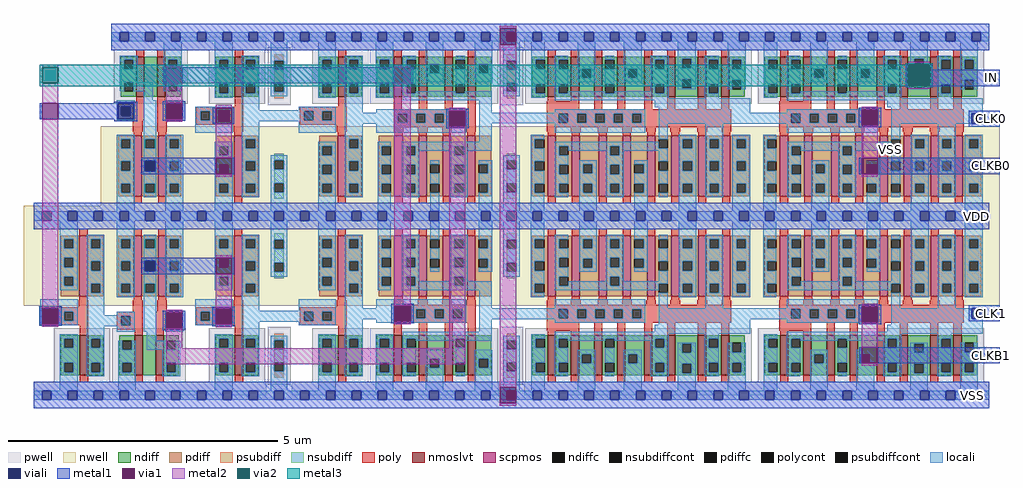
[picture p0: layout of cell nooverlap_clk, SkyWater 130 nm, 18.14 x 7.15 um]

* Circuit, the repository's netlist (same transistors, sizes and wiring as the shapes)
* NGSPICE file created from nooverlap_clk.ext - technology: sky130A

.subckt sky130_fd_sc_hs__nand2_1 A B VGND VNB VPB VPWR Y
X0 a_117_74# B VGND VNB sky130_fd_pr__nfet_01v8_lvt ad=0.0888 pd=0.98 as=0.2109 ps=2.05 w=0.74 l=0.15
X1 VPWR A Y VPB sky130_fd_pr__pfet_01v8 ad=0.3192 pd=2.81 as=0.168 ps=1.42 w=1.12 l=0.15
X2 Y A a_117_74# VNB sky130_fd_pr__nfet_01v8_lvt ad=0.2109 pd=2.05 as=0.0888 ps=0.98 w=0.74 l=0.15
X3 Y B VPWR VPB sky130_fd_pr__pfet_01v8 ad=0.168 pd=1.42 as=0.3192 ps=2.81 w=1.12 l=0.15
.ends

.subckt sky130_fd_sc_hs__inv_1 A VGND VNB VPB VPWR Y
X0 Y A VPWR VPB sky130_fd_pr__pfet_01v8 ad=0.3304 pd=2.83 as=0.3864 ps=2.93 w=1.12 l=0.15
X1 Y A VGND VNB sky130_fd_pr__nfet_01v8_lvt ad=0.2109 pd=2.05 as=0.2627 ps=2.19 w=0.74 l=0.15
.ends

.subckt sky130_fd_sc_hs__inv_4 A VGND VNB VPB VPWR Y
X0 Y A VPWR VPB sky130_fd_pr__pfet_01v8 ad=0.168 pd=1.42 as=0.3304 ps=2.83 w=1.12 l=0.15
X1 Y A VGND VNB sky130_fd_pr__nfet_01v8_lvt ad=0.1184 pd=1.06 as=0.2331 ps=2.11 w=0.74 l=0.15
X2 Y A VGND VNB sky130_fd_pr__nfet_01v8_lvt ad=0.1036 pd=1.02 as=0.1221 ps=1.07 w=0.74 l=0.15
X3 VPWR A Y VPB sky130_fd_pr__pfet_01v8 ad=0.3304 pd=2.83 as=0.168 ps=1.42 w=1.12 l=0.15
X4 VGND A Y VNB sky130_fd_pr__nfet_01v8_lvt ad=0.1221 pd=1.07 as=0.1184 ps=1.06 w=0.74 l=0.15
X5 Y A VPWR VPB sky130_fd_pr__pfet_01v8 ad=0.168 pd=1.42 as=0.168 ps=1.42 w=1.12 l=0.15
X6 VGND A Y VNB sky130_fd_pr__nfet_01v8_lvt ad=0.2109 pd=2.05 as=0.1036 ps=1.02 w=0.74 l=0.15
X7 VPWR A Y VPB sky130_fd_pr__pfet_01v8 ad=0.168 pd=1.42 as=0.168 ps=1.42 w=1.12 l=0.15
.ends

.subckt sky130_fd_sc_hs__inv_8 A VGND VNB VPB VPWR Y
X0 Y A VPWR VPB sky130_fd_pr__pfet_01v8 ad=0.168 pd=1.42 as=0.3304 ps=2.83 w=1.12 l=0.15
X1 VPWR A Y VPB sky130_fd_pr__pfet_01v8 ad=0.196 pd=1.47 as=0.168 ps=1.42 w=1.12 l=0.15
X2 Y A VGND VNB sky130_fd_pr__nfet_01v8_lvt ad=0.1036 pd=1.02 as=0.2109 ps=2.05 w=0.74 l=0.15
X3 Y A VPWR VPB sky130_fd_pr__pfet_01v8 ad=0.168 pd=1.42 as=0.168 ps=1.42 w=1.12 l=0.15
X4 Y A VGND VNB sky130_fd_pr__nfet_01v8_lvt ad=0.1036 pd=1.02 as=0.1295 ps=1.09 w=0.74 l=0.15
X5 VPWR A Y VPB sky130_fd_pr__pfet_01v8 ad=0.168 pd=1.42 as=0.168 ps=1.42 w=1.12 l=0.15
X6 Y A VPWR VPB sky130_fd_pr__pfet_01v8 ad=0.168 pd=1.42 as=0.196 ps=1.47 w=1.12 l=0.15
X7 VGND A Y VNB sky130_fd_pr__nfet_01v8_lvt ad=0.2146 pd=2.06 as=0.1036 ps=1.02 w=0.74 l=0.15
X8 VGND A Y VNB sky130_fd_pr__nfet_01v8_lvt ad=0.1295 pd=1.09 as=0.1036 ps=1.02 w=0.74 l=0.15
X9 VPWR A Y VPB sky130_fd_pr__pfet_01v8 ad=0.196 pd=1.47 as=0.168 ps=1.42 w=1.12 l=0.15
X10 VGND A Y VNB sky130_fd_pr__nfet_01v8_lvt ad=0.1036 pd=1.02 as=0.1036 ps=1.02 w=0.74 l=0.15
X11 Y A VGND VNB sky130_fd_pr__nfet_01v8_lvt ad=0.1036 pd=1.02 as=0.1554 ps=1.16 w=0.74 l=0.15
X12 Y A VGND VNB sky130_fd_pr__nfet_01v8_lvt ad=0.1036 pd=1.02 as=0.1036 ps=1.02 w=0.74 l=0.15
X13 VPWR A Y VPB sky130_fd_pr__pfet_01v8 ad=0.3864 pd=2.93 as=0.168 ps=1.42 w=1.12 l=0.15
X14 Y A VPWR VPB sky130_fd_pr__pfet_01v8 ad=0.168 pd=1.42 as=0.196 ps=1.47 w=1.12 l=0.15
X15 VGND A Y VNB sky130_fd_pr__nfet_01v8_lvt ad=0.1554 pd=1.16 as=0.1036 ps=1.02 w=0.74 l=0.15
.ends

.subckt nooverlap_clk IN CLK0 CLKB0 CLK1 CLKB1 VDD VSS
Xx1 x1/A x3/Y VSS VSS VDD VDD x4/A sky130_fd_sc_hs__nand2_1
Xx3 IN VSS VSS VDD VDD x3/Y sky130_fd_sc_hs__inv_1
Xx4 x4/A VSS VSS VDD VDD x6/A sky130_fd_sc_hs__inv_1
Xx6 x6/A VSS VSS VDD VDD x8/A sky130_fd_sc_hs__inv_1
Xx8 x8/A VSS VSS VDD VDD x8/Y sky130_fd_sc_hs__inv_4
Xsky130_fd_sc_hs__nand2_1_0 IN x8/A VSS VSS VDD VDD sky130_fd_sc_hs__inv_1_0/A sky130_fd_sc_hs__nand2_1
Xsky130_fd_sc_hs__inv_1_0 sky130_fd_sc_hs__inv_1_0/A VSS VSS VDD VDD sky130_fd_sc_hs__inv_1_1/A
+ sky130_fd_sc_hs__inv_1
Xsky130_fd_sc_hs__inv_1_1 sky130_fd_sc_hs__inv_1_1/A VSS VSS VDD VDD x1/A sky130_fd_sc_hs__inv_1
Xsky130_fd_sc_hs__inv_8_0 sky130_fd_sc_hs__inv_8_0/A VSS VSS VDD VDD CLKB0 sky130_fd_sc_hs__inv_8
Xsky130_fd_sc_hs__inv_8_1 CLKB0 VSS VSS VDD VDD CLK0 sky130_fd_sc_hs__inv_8
Xx10 x8/Y VSS VSS VDD VDD CLKB1 sky130_fd_sc_hs__inv_8
Xx12 CLKB1 VSS VSS VDD VDD CLK1 sky130_fd_sc_hs__inv_8
Xsky130_fd_sc_hs__inv_4_0 x1/A VSS VSS VDD VDD sky130_fd_sc_hs__inv_8_0/A sky130_fd_sc_hs__inv_4
.ends

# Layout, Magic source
magic
tech sky130A
magscale 1 2
<< locali >>
rect 151 -3707 379 -3667
rect 536 -3717 657 -3677
rect 1009 -3716 1326 -3676
rect 1976 -3717 2190 -3677
rect -435 -4469 -301 -4429
rect 126 -4453 379 -4413
rect 532 -4443 628 -4403
rect 1009 -4443 1326 -4403
rect 1972 -4443 2190 -4403
<< viali >>
rect -351 -3701 -291 -3641
rect -171 -3700 -111 -3640
rect 23 -3707 63 -3667
rect 882 -3728 942 -3668
rect 2415 -3724 2475 -3664
rect 2824 -3718 2864 -3678
rect -251 -3894 -211 -3854
rect -251 -4266 -211 -4226
rect -631 -4462 -571 -4402
rect -171 -4478 -111 -4418
rect 13 -4463 73 -4403
rect 678 -4453 738 -4393
rect 2415 -4456 2475 -4396
rect 2824 -4442 2864 -4402
<< metal1 >>
rect 1060 -3423 1070 -3363
rect 1130 -3423 1140 -3363
rect -181 -3567 -171 -3507
rect -111 -3567 678 -3507
rect 738 -3567 748 -3507
rect 2578 -3577 2588 -3497
rect 2668 -3517 2678 -3497
rect 2668 -3577 2927 -3517
rect -363 -3641 -279 -3635
rect -641 -3701 -631 -3641
rect -571 -3701 -351 -3641
rect -291 -3701 -279 -3641
rect -363 -3707 -279 -3701
rect -183 -3640 -99 -3634
rect -183 -3700 -171 -3640
rect -111 -3700 -99 -3640
rect -183 -3706 -99 -3700
rect 3 -3717 13 -3657
rect 73 -3717 83 -3657
rect 870 -3668 954 -3662
rect 870 -3728 882 -3668
rect 942 -3728 954 -3668
rect 870 -3734 954 -3728
rect 2403 -3664 2487 -3658
rect 2403 -3724 2415 -3664
rect 2475 -3724 2487 -3664
rect 2403 -3730 2487 -3724
rect 2812 -3678 2927 -3668
rect 2812 -3718 2824 -3678
rect 2864 -3718 2927 -3678
rect 2812 -3728 2927 -3718
rect -263 -3854 13 -3844
rect -263 -3894 -251 -3854
rect -211 -3894 13 -3854
rect -263 -3904 13 -3894
rect 73 -3904 83 -3844
rect 2405 -3904 2415 -3844
rect 2475 -3904 2927 -3844
rect 2791 -4100 2873 -4026
rect -263 -4226 13 -4216
rect -263 -4266 -251 -4226
rect -211 -4266 13 -4226
rect -263 -4276 13 -4266
rect 73 -4276 83 -4216
rect 666 -4393 750 -4387
rect -643 -4402 -559 -4396
rect -643 -4462 -631 -4402
rect -571 -4462 -559 -4402
rect 1 -4403 85 -4397
rect -643 -4468 -559 -4462
rect -183 -4418 -99 -4412
rect -183 -4478 -171 -4418
rect -111 -4478 -99 -4418
rect 1 -4463 13 -4403
rect 73 -4463 85 -4403
rect 666 -4453 678 -4393
rect 738 -4453 750 -4393
rect 666 -4459 750 -4453
rect 2403 -4396 2487 -4390
rect 2403 -4456 2415 -4396
rect 2475 -4456 2487 -4396
rect 2812 -4402 2927 -4392
rect 2812 -4442 2824 -4402
rect 2864 -4442 2927 -4402
rect 2812 -4452 2927 -4442
rect 2403 -4462 2487 -4456
rect 1 -4469 85 -4463
rect -183 -4484 -99 -4478
rect 2405 -4607 2415 -4547
rect 2475 -4607 2927 -4547
rect 1060 -4756 1070 -4696
rect 1130 -4756 1140 -4696
rect 2783 -4764 2865 -4690
<< via1 >>
rect 1070 -3423 1130 -3363
rect -171 -3567 -111 -3507
rect 678 -3567 738 -3507
rect 2588 -3577 2668 -3497
rect -631 -3701 -571 -3641
rect -171 -3700 -111 -3640
rect 13 -3667 73 -3657
rect 13 -3707 23 -3667
rect 23 -3707 63 -3667
rect 63 -3707 73 -3667
rect 13 -3717 73 -3707
rect 882 -3728 942 -3668
rect 2415 -3724 2475 -3664
rect 13 -3904 73 -3844
rect 2415 -3904 2475 -3844
rect 13 -4276 73 -4216
rect -631 -4462 -571 -4402
rect -171 -4478 -111 -4418
rect 13 -4463 73 -4403
rect 678 -4453 738 -4393
rect 2415 -4456 2475 -4396
rect 2415 -4607 2475 -4547
rect 1070 -4756 1130 -4696
<< metal2 >>
rect 1070 -3363 1130 -3353
rect -631 -3507 -571 -3497
rect -631 -3641 -571 -3567
rect -631 -4402 -571 -3701
rect -171 -3507 -111 -3497
rect -171 -3640 -111 -3567
rect 678 -3507 738 -3497
rect -171 -3710 -111 -3700
rect 13 -3657 73 -3647
rect 13 -3844 73 -3717
rect 13 -3914 73 -3904
rect 13 -4216 73 -4206
rect 13 -4403 73 -4276
rect -631 -4472 -571 -4462
rect -171 -4418 -111 -4408
rect 678 -4393 738 -3567
rect 678 -4463 738 -4453
rect 882 -3668 942 -3658
rect 13 -4473 73 -4463
rect -171 -4551 -111 -4478
rect 882 -4551 942 -3728
rect -171 -4611 942 -4551
rect 1070 -4696 1130 -3423
rect 2588 -3497 2668 -3487
rect 2588 -3587 2668 -3577
rect 2415 -3664 2475 -3654
rect 2415 -3844 2475 -3724
rect 2415 -3914 2475 -3904
rect 2415 -4396 2475 -4386
rect 2415 -4547 2475 -4456
rect 2415 -4617 2475 -4607
rect 1070 -4766 1130 -4756
<< via2 >>
rect -631 -3567 -571 -3507
rect 2588 -3577 2668 -3497
<< metal3 >>
rect 2578 -3497 2678 -3492
rect -641 -3507 2588 -3497
rect -641 -3567 -631 -3507
rect -571 -3567 2588 -3507
rect -641 -3577 2588 -3567
rect 2668 -3577 2678 -3497
rect 2578 -3582 2678 -3577
use sky130_fd_sc_hs__inv_1  sky130_fd_sc_hs__inv_1_0 $PDKPATH/libs.ref/sky130_fd_sc_hs/mag
transform 1 0 -87 0 -1 -3394
box -38 -49 326 715
use sky130_fd_sc_hs__inv_1  sky130_fd_sc_hs__inv_1_1
transform 1 0 297 0 -1 -3394
box -38 -49 326 715
use sky130_fd_sc_hs__inv_4  sky130_fd_sc_hs__inv_4_0 $PDKPATH/libs.ref/sky130_fd_sc_hs/mag
transform 1 0 585 0 -1 -3394
box -38 -49 518 715
use sky130_fd_sc_hs__inv_8  sky130_fd_sc_hs__inv_8_0 $PDKPATH/libs.ref/sky130_fd_sc_hs/mag
transform 1 0 1161 0 -1 -3394
box -38 -49 902 715
use sky130_fd_sc_hs__inv_8  sky130_fd_sc_hs__inv_8_1
transform 1 0 2025 0 -1 -3394
box -38 -49 902 715
use sky130_fd_sc_hs__nand2_1  sky130_fd_sc_hs__nand2_1_0 $PDKPATH/libs.ref/sky130_fd_sc_hs/mag
transform -1 0 -87 0 -1 -3394
box -38 -49 326 715
use sky130_fd_sc_hs__tapvpwrvgnd_1  sky130_fd_sc_hs__tapvpwrvgnd_1_0 $PDKPATH/libs.ref/sky130_fd_sc_hs/mag
transform 1 0 201 0 1 -4726
box -38 -49 134 715
use sky130_fd_sc_hs__tapvpwrvgnd_1  sky130_fd_sc_hs__tapvpwrvgnd_1_1
transform 1 0 1065 0 1 -4726
box -38 -49 134 715
use sky130_fd_sc_hs__tapvpwrvgnd_1  sky130_fd_sc_hs__tapvpwrvgnd_1_2
transform 1 0 201 0 -1 -3394
box -38 -49 134 715
use sky130_fd_sc_hs__tapvpwrvgnd_1  sky130_fd_sc_hs__tapvpwrvgnd_1_3
transform 1 0 1065 0 -1 -3394
box -38 -49 134 715
use sky130_fd_sc_hs__nand2_1  x1
transform 1 0 -375 0 1 -4726
box -38 -49 326 715
use sky130_fd_sc_hs__inv_1  x3
transform 1 0 -663 0 1 -4726
box -38 -49 326 715
use sky130_fd_sc_hs__inv_1  x4
transform 1 0 -87 0 1 -4726
box -38 -49 326 715
use sky130_fd_sc_hs__inv_1  x6
transform 1 0 297 0 1 -4726
box -38 -49 326 715
use sky130_fd_sc_hs__inv_4  x8
transform 1 0 585 0 1 -4726
box -38 -49 518 715
use sky130_fd_sc_hs__inv_8  x10
transform 1 0 1161 0 1 -4726
box -38 -49 902 715
use sky130_fd_sc_hs__inv_8  x12
transform 1 0 2025 0 1 -4726
box -38 -49 902 715
<< labels >>
flabel metal1 2878 -3567 2918 -3527 0 FreeSans 400 0 0 0 IN
port 0 nsew
flabel metal1 2878 -3717 2918 -3677 0 FreeSans 400 0 0 0 CLK0
port 1 nsew
flabel metal1 2876 -3894 2916 -3854 0 FreeSans 400 0 0 0 CLKB0
port 2 nsew
flabel metal1 2876 -4443 2916 -4403 0 FreeSans 400 0 0 0 CLK1
port 3 nsew
flabel metal1 2877 -4597 2917 -4557 0 FreeSans 400 0 0 0 CLKB1
port 4 nsew
flabel metal1 2820 -4082 2860 -4042 0 FreeSans 400 0 0 0 VDD
port 5 nsew
flabel metal1 2807 -4748 2847 -4708 0 FreeSans 400 0 0 0 VSS
port 6 nsew
flabel space 2503 -3833 2543 -3793 0 FreeSans 400 0 0 0 VSS
port 7 nsew
<< end >>

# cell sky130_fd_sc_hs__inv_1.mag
magic
tech sky130A
magscale 1 2
<< nwell >>
rect -38 332 326 704
<< pwell >>
rect 75 49 285 248
rect 0 0 288 49
<< scpmos >>
rect 170 368 200 592
<< nmoslvt >>
rect 172 74 202 222
<< ndiff >>
rect 101 210 172 222
rect 101 176 113 210
rect 147 176 172 210
rect 101 120 172 176
rect 101 86 113 120
rect 147 86 172 120
rect 101 74 172 86
rect 202 210 259 222
rect 202 176 213 210
rect 247 176 259 210
rect 202 120 259 176
rect 202 86 213 120
rect 247 86 259 120
rect 202 74 259 86
<< pdiff >>
rect 101 580 170 592
rect 101 546 113 580
rect 147 546 170 580
rect 101 510 170 546
rect 101 476 113 510
rect 147 476 170 510
rect 101 440 170 476
rect 101 406 113 440
rect 147 406 170 440
rect 101 368 170 406
rect 200 580 259 592
rect 200 546 213 580
rect 247 546 259 580
rect 200 497 259 546
rect 200 463 213 497
rect 247 463 259 497
rect 200 414 259 463
rect 200 380 213 414
rect 247 380 259 414
rect 200 368 259 380
<< ndiffc >>
rect 113 176 147 210
rect 113 86 147 120
rect 213 176 247 210
rect 213 86 247 120
<< pdiffc >>
rect 113 546 147 580
rect 113 476 147 510
rect 113 406 147 440
rect 213 546 247 580
rect 213 463 247 497
rect 213 380 247 414
<< poly >>
rect 170 592 200 618
rect 170 353 200 368
rect 167 326 203 353
rect 29 310 203 326
rect 29 276 45 310
rect 79 276 113 310
rect 147 276 203 310
rect 29 260 203 276
rect 172 222 202 260
rect 172 48 202 74
<< polycont >>
rect 45 276 79 310
rect 113 276 147 310
<< locali >>
rect 0 649 31 683
rect 65 649 127 683
rect 161 649 223 683
rect 257 649 288 683
rect 97 580 163 649
rect 97 546 113 580
rect 147 546 163 580
rect 97 510 163 546
rect 97 476 113 510
rect 147 476 163 510
rect 97 440 163 476
rect 97 406 113 440
rect 147 406 163 440
rect 97 390 163 406
rect 197 580 263 596
rect 197 546 213 580
rect 247 546 263 580
rect 197 497 263 546
rect 197 463 213 497
rect 247 463 263 497
rect 197 414 263 463
rect 197 380 213 414
rect 247 380 263 414
rect 25 310 163 356
rect 25 276 45 310
rect 79 276 113 310
rect 147 276 163 310
rect 25 260 163 276
rect 97 210 163 226
rect 97 176 113 210
rect 147 176 163 210
rect 97 120 163 176
rect 97 86 113 120
rect 147 86 163 120
rect 97 17 163 86
rect 197 210 263 380
rect 197 176 213 210
rect 247 176 263 210
rect 197 120 263 176
rect 197 86 213 120
rect 247 86 263 120
rect 197 70 263 86
rect 0 -17 31 17
rect 65 -17 127 17
rect 161 -17 223 17
rect 257 -17 288 17
<< viali >>
rect 31 649 65 683
rect 127 649 161 683
rect 223 649 257 683
rect 31 -17 65 17
rect 127 -17 161 17
rect 223 -17 257 17
<< metal1 >>
rect 0 683 288 715
rect 0 649 31 683
rect 65 649 127 683
rect 161 649 223 683
rect 257 649 288 683
rect 0 617 288 649
rect 0 17 288 49
rect 0 -17 31 17
rect 65 -17 127 17
rect 161 -17 223 17
rect 257 -17 288 17
rect 0 -49 288 -17
<< labels >>
rlabel comment s 0 0 0 0 4 inv_1
flabel pwell s 0 0 288 49 0 FreeSans 200 0 0 0 VNB
port 1 nsew
flabel nwell s 0 617 288 666 0 FreeSans 200 0 0 0 VPB
port 2 nsew
flabel metal1 s 0 617 288 666 0 FreeSans 340 0 0 0 VPWR
port 3 nsew
flabel metal1 s 0 0 288 49 0 FreeSans 340 0 0 0 VGND
port 4 nsew
flabel locali s 223 94 257 128 0 FreeSans 340 0 0 0 Y
port 6 nsew
flabel locali s 223 168 257 202 0 FreeSans 340 0 0 0 Y
port 6 nsew
flabel locali s 223 242 257 276 0 FreeSans 340 0 0 0 Y
port 6 nsew
flabel locali s 223 316 257 350 0 FreeSans 340 0 0 0 Y
port 6 nsew
flabel locali s 223 390 257 424 0 FreeSans 340 0 0 0 Y
port 6 nsew
flabel locali s 223 464 257 498 0 FreeSans 340 0 0 0 Y
port 6 nsew
flabel locali s 223 538 257 572 0 FreeSans 340 0 0 0 Y
port 6 nsew
flabel locali s 31 316 65 350 0 FreeSans 340 0 0 0 A
port 7 nsew
<< properties >>
string FIXED_BBOX 0 0 288 666
<< end >>

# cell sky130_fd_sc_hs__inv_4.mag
magic
tech sky130A
magscale 1 2
<< nwell >>
rect -38 332 518 704
<< pwell >>
rect 1 49 479 248
rect 0 0 480 49
<< scpmos >>
rect 93 368 123 592
rect 183 368 213 592
rect 273 368 303 592
rect 363 368 393 592
<< nmoslvt >>
rect 90 74 120 222
rect 184 74 214 222
rect 280 74 310 222
rect 366 74 396 222
<< ndiff >>
rect 27 210 90 222
rect 27 176 39 210
rect 73 176 90 210
rect 27 120 90 176
rect 27 86 39 120
rect 73 86 90 120
rect 27 74 90 86
rect 120 210 184 222
rect 120 176 139 210
rect 173 176 184 210
rect 120 120 184 176
rect 120 86 139 120
rect 173 86 184 120
rect 120 74 184 86
rect 214 136 280 222
rect 214 102 225 136
rect 259 102 280 136
rect 214 74 280 102
rect 310 210 366 222
rect 310 176 321 210
rect 355 176 366 210
rect 310 120 366 176
rect 310 86 321 120
rect 355 86 366 120
rect 310 74 366 86
rect 396 136 453 222
rect 396 102 407 136
rect 441 102 453 136
rect 396 74 453 102
<< pdiff >>
rect 34 580 93 592
rect 34 546 46 580
rect 80 546 93 580
rect 34 510 93 546
rect 34 476 46 510
rect 80 476 93 510
rect 34 440 93 476
rect 34 406 46 440
rect 80 406 93 440
rect 34 368 93 406
rect 123 580 183 592
rect 123 546 136 580
rect 170 546 183 580
rect 123 510 183 546
rect 123 476 136 510
rect 170 476 183 510
rect 123 440 183 476
rect 123 406 136 440
rect 170 406 183 440
rect 123 368 183 406
rect 213 580 273 592
rect 213 546 226 580
rect 260 546 273 580
rect 213 508 273 546
rect 213 474 226 508
rect 260 474 273 508
rect 213 368 273 474
rect 303 580 363 592
rect 303 546 316 580
rect 350 546 363 580
rect 303 510 363 546
rect 303 476 316 510
rect 350 476 363 510
rect 303 440 363 476
rect 303 406 316 440
rect 350 406 363 440
rect 303 368 363 406
rect 393 580 452 592
rect 393 546 406 580
rect 440 546 452 580
rect 393 508 452 546
rect 393 474 406 508
rect 440 474 452 508
rect 393 368 452 474
<< ndiffc >>
rect 39 176 73 210
rect 39 86 73 120
rect 139 176 173 210
rect 139 86 173 120
rect 225 102 259 136
rect 321 176 355 210
rect 321 86 355 120
rect 407 102 441 136
<< pdiffc >>
rect 46 546 80 580
rect 46 476 80 510
rect 46 406 80 440
rect 136 546 170 580
rect 136 476 170 510
rect 136 406 170 440
rect 226 546 260 580
rect 226 474 260 508
rect 316 546 350 580
rect 316 476 350 510
rect 316 406 350 440
rect 406 546 440 580
rect 406 474 440 508
<< poly >>
rect 93 592 123 618
rect 183 592 213 618
rect 273 592 303 618
rect 363 592 393 618
rect 93 353 123 368
rect 183 353 213 368
rect 273 353 303 368
rect 363 353 393 368
rect 90 336 126 353
rect 180 336 216 353
rect 270 336 306 353
rect 360 336 396 353
rect 90 320 396 336
rect 90 286 106 320
rect 140 286 174 320
rect 208 286 242 320
rect 276 286 310 320
rect 344 286 396 320
rect 90 270 396 286
rect 90 222 120 270
rect 184 222 214 270
rect 280 222 310 270
rect 366 222 396 270
rect 90 48 120 74
rect 184 48 214 74
rect 280 48 310 74
rect 366 48 396 74
<< polycont >>
rect 106 286 140 320
rect 174 286 208 320
rect 242 286 276 320
rect 310 286 344 320
<< locali >>
rect 0 649 31 683
rect 65 649 127 683
rect 161 649 223 683
rect 257 649 319 683
rect 353 649 415 683
rect 449 649 480 683
rect 30 580 80 649
rect 30 546 46 580
rect 30 510 80 546
rect 30 476 46 510
rect 30 440 80 476
rect 30 406 46 440
rect 30 390 80 406
rect 120 580 186 596
rect 120 546 136 580
rect 170 546 186 580
rect 120 510 186 546
rect 120 476 136 510
rect 170 476 186 510
rect 120 440 186 476
rect 226 580 260 649
rect 226 508 260 546
rect 226 458 260 474
rect 300 580 366 596
rect 300 546 316 580
rect 350 546 366 580
rect 300 510 366 546
rect 300 476 316 510
rect 350 476 366 510
rect 120 406 136 440
rect 170 424 186 440
rect 300 440 366 476
rect 406 580 456 649
rect 440 546 456 580
rect 406 508 456 546
rect 440 474 456 508
rect 406 458 456 474
rect 300 424 316 440
rect 170 406 316 424
rect 350 424 366 440
rect 350 406 455 424
rect 120 390 455 406
rect 25 320 360 356
rect 25 286 106 320
rect 140 286 174 320
rect 208 286 242 320
rect 276 286 310 320
rect 344 286 360 320
rect 25 270 360 286
rect 409 236 455 390
rect 23 210 89 226
rect 23 176 39 210
rect 73 176 89 210
rect 23 120 89 176
rect 23 86 39 120
rect 73 86 89 120
rect 23 17 89 86
rect 123 210 455 236
rect 123 176 139 210
rect 173 202 321 210
rect 123 120 173 176
rect 355 202 455 210
rect 123 86 139 120
rect 123 70 173 86
rect 209 136 275 168
rect 209 102 225 136
rect 259 102 275 136
rect 209 17 275 102
rect 321 120 355 176
rect 321 70 355 86
rect 391 136 457 168
rect 391 102 407 136
rect 441 102 457 136
rect 391 17 457 102
rect 0 -17 31 17
rect 65 -17 127 17
rect 161 -17 223 17
rect 257 -17 319 17
rect 353 -17 415 17
rect 449 -17 480 17
<< viali >>
rect 31 649 65 683
rect 127 649 161 683
rect 223 649 257 683
rect 319 649 353 683
rect 415 649 449 683
rect 31 -17 65 17
rect 127 -17 161 17
rect 223 -17 257 17
rect 319 -17 353 17
rect 415 -17 449 17
<< metal1 >>
rect 0 683 480 715
rect 0 649 31 683
rect 65 649 127 683
rect 161 649 223 683
rect 257 649 319 683
rect 353 649 415 683
rect 449 649 480 683
rect 0 617 480 649
rect 0 17 480 49
rect 0 -17 31 17
rect 65 -17 127 17
rect 161 -17 223 17
rect 257 -17 319 17
rect 353 -17 415 17
rect 449 -17 480 17
rect 0 -49 480 -17
<< labels >>
rlabel comment s 0 0 0 0 4 inv_4
flabel pwell s 0 0 480 49 0 FreeSans 200 0 0 0 VNB
port 1 nsew
flabel nwell s 0 617 480 666 0 FreeSans 200 0 0 0 VPB
port 2 nsew
flabel metal1 s 0 617 480 666 0 FreeSans 340 0 0 0 VPWR
port 3 nsew
flabel metal1 s 0 0 480 49 0 FreeSans 340 0 0 0 VGND
port 4 nsew
flabel locali s 415 242 449 276 0 FreeSans 340 0 0 0 Y
port 6 nsew
flabel locali s 31 316 65 350 0 FreeSans 340 0 0 0 A
port 7 nsew
flabel locali s 127 316 161 350 0 FreeSans 340 0 0 0 A
port 7 nsew
flabel locali s 223 316 257 350 0 FreeSans 340 0 0 0 A
port 7 nsew
flabel locali s 319 316 353 350 0 FreeSans 340 0 0 0 A
port 7 nsew
<< properties >>
string FIXED_BBOX 0 0 480 666
<< end >>

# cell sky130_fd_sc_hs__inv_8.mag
magic
tech sky130A
magscale 1 2
<< nwell >>
rect -38 332 902 704
<< pwell >>
rect 4 49 845 248
rect 0 0 864 49
<< scpmos >>
rect 86 368 116 592
rect 176 368 206 592
rect 276 368 306 592
rect 366 368 396 592
rect 456 368 486 592
rect 546 368 576 592
rect 646 368 676 592
rect 736 368 766 592
<< nmoslvt >>
rect 87 74 117 222
rect 173 74 203 222
rect 259 74 289 222
rect 345 74 375 222
rect 445 74 475 222
rect 531 74 561 222
rect 645 74 675 222
rect 731 74 761 222
<< ndiff >>
rect 30 210 87 222
rect 30 176 42 210
rect 76 176 87 210
rect 30 120 87 176
rect 30 86 42 120
rect 76 86 87 120
rect 30 74 87 86
rect 117 210 173 222
rect 117 176 128 210
rect 162 176 173 210
rect 117 120 173 176
rect 117 86 128 120
rect 162 86 173 120
rect 117 74 173 86
rect 203 152 259 222
rect 203 118 214 152
rect 248 118 259 152
rect 203 74 259 118
rect 289 210 345 222
rect 289 176 300 210
rect 334 176 345 210
rect 289 120 345 176
rect 289 86 300 120
rect 334 86 345 120
rect 289 74 345 86
rect 375 152 445 222
rect 375 118 386 152
rect 420 118 445 152
rect 375 74 445 118
rect 475 210 531 222
rect 475 176 486 210
rect 520 176 531 210
rect 475 120 531 176
rect 475 86 486 120
rect 520 86 531 120
rect 475 74 531 86
rect 561 192 645 222
rect 561 158 586 192
rect 620 158 645 192
rect 561 116 645 158
rect 561 82 586 116
rect 620 82 645 116
rect 561 74 645 82
rect 675 210 731 222
rect 675 176 686 210
rect 720 176 731 210
rect 675 120 731 176
rect 675 86 686 120
rect 720 86 731 120
rect 675 74 731 86
rect 761 194 819 222
rect 761 160 772 194
rect 806 160 819 194
rect 761 120 819 160
rect 761 86 772 120
rect 806 86 819 120
rect 761 74 819 86
<< pdiff >>
rect 27 580 86 592
rect 27 546 39 580
rect 73 546 86 580
rect 27 497 86 546
rect 27 463 39 497
rect 73 463 86 497
rect 27 414 86 463
rect 27 380 39 414
rect 73 380 86 414
rect 27 368 86 380
rect 116 580 176 592
rect 116 546 129 580
rect 163 546 176 580
rect 116 510 176 546
rect 116 476 129 510
rect 163 476 176 510
rect 116 440 176 476
rect 116 406 129 440
rect 163 406 176 440
rect 116 368 176 406
rect 206 580 276 592
rect 206 546 219 580
rect 253 546 276 580
rect 206 508 276 546
rect 206 474 219 508
rect 253 474 276 508
rect 206 368 276 474
rect 306 580 366 592
rect 306 546 319 580
rect 353 546 366 580
rect 306 510 366 546
rect 306 476 319 510
rect 353 476 366 510
rect 306 440 366 476
rect 306 406 319 440
rect 353 406 366 440
rect 306 368 366 406
rect 396 580 456 592
rect 396 546 409 580
rect 443 546 456 580
rect 396 508 456 546
rect 396 474 409 508
rect 443 474 456 508
rect 396 368 456 474
rect 486 580 546 592
rect 486 546 499 580
rect 533 546 546 580
rect 486 497 546 546
rect 486 463 499 497
rect 533 463 546 497
rect 486 414 546 463
rect 486 380 499 414
rect 533 380 546 414
rect 486 368 546 380
rect 576 580 646 592
rect 576 546 589 580
rect 623 546 646 580
rect 576 497 646 546
rect 576 463 589 497
rect 623 463 646 497
rect 576 414 646 463
rect 576 380 589 414
rect 623 380 646 414
rect 576 368 646 380
rect 676 580 736 592
rect 676 546 689 580
rect 723 546 736 580
rect 676 497 736 546
rect 676 463 689 497
rect 723 463 736 497
rect 676 414 736 463
rect 676 380 689 414
rect 723 380 736 414
rect 676 368 736 380
rect 766 580 835 592
rect 766 546 789 580
rect 823 546 835 580
rect 766 497 835 546
rect 766 463 789 497
rect 823 463 835 497
rect 766 414 835 463
rect 766 380 789 414
rect 823 380 835 414
rect 766 368 835 380
<< ndiffc >>
rect 42 176 76 210
rect 42 86 76 120
rect 128 176 162 210
rect 128 86 162 120
rect 214 118 248 152
rect 300 176 334 210
rect 300 86 334 120
rect 386 118 420 152
rect 486 176 520 210
rect 486 86 520 120
rect 586 158 620 192
rect 586 82 620 116
rect 686 176 720 210
rect 686 86 720 120
rect 772 160 806 194
rect 772 86 806 120
<< pdiffc >>
rect 39 546 73 580
rect 39 463 73 497
rect 39 380 73 414
rect 129 546 163 580
rect 129 476 163 510
rect 129 406 163 440
rect 219 546 253 580
rect 219 474 253 508
rect 319 546 353 580
rect 319 476 353 510
rect 319 406 353 440
rect 409 546 443 580
rect 409 474 443 508
rect 499 546 533 580
rect 499 463 533 497
rect 499 380 533 414
rect 589 546 623 580
rect 589 463 623 497
rect 589 380 623 414
rect 689 546 723 580
rect 689 463 723 497
rect 689 380 723 414
rect 789 546 823 580
rect 789 463 823 497
rect 789 380 823 414
<< poly >>
rect 86 592 116 618
rect 176 592 206 618
rect 276 592 306 618
rect 366 592 396 618
rect 456 592 486 618
rect 546 592 576 618
rect 646 592 676 618
rect 736 592 766 618
rect 86 353 116 368
rect 176 353 206 368
rect 276 353 306 368
rect 366 353 396 368
rect 456 353 486 368
rect 546 353 576 368
rect 646 353 676 368
rect 736 353 766 368
rect 83 336 119 353
rect 173 336 209 353
rect 273 336 309 353
rect 363 336 399 353
rect 453 336 489 353
rect 543 336 579 353
rect 643 336 679 353
rect 733 336 769 353
rect 83 320 769 336
rect 83 286 128 320
rect 162 286 196 320
rect 230 286 264 320
rect 298 286 332 320
rect 366 286 400 320
rect 434 286 769 320
rect 83 270 769 286
rect 83 240 203 270
rect 87 222 117 240
rect 173 222 203 240
rect 259 222 289 270
rect 345 222 375 270
rect 445 222 475 270
rect 531 222 561 270
rect 645 222 675 270
rect 731 222 761 270
rect 87 48 117 74
rect 173 48 203 74
rect 259 48 289 74
rect 345 48 375 74
rect 445 48 475 74
rect 531 48 561 74
rect 645 48 675 74
rect 731 48 761 74
<< polycont >>
rect 128 286 162 320
rect 196 286 230 320
rect 264 286 298 320
rect 332 286 366 320
rect 400 286 434 320
<< locali >>
rect 0 649 31 683
rect 65 649 127 683
rect 161 649 223 683
rect 257 649 319 683
rect 353 649 415 683
rect 449 649 511 683
rect 545 649 607 683
rect 641 649 703 683
rect 737 649 799 683
rect 833 649 864 683
rect 23 580 73 649
rect 23 546 39 580
rect 23 497 73 546
rect 23 463 39 497
rect 23 414 73 463
rect 23 380 39 414
rect 113 580 163 596
rect 113 546 129 580
rect 113 510 163 546
rect 113 476 129 510
rect 113 440 163 476
rect 203 580 269 649
rect 203 546 219 580
rect 253 546 269 580
rect 203 508 269 546
rect 203 474 219 508
rect 253 474 269 508
rect 203 458 269 474
rect 303 580 369 596
rect 303 546 319 580
rect 353 546 369 580
rect 303 510 369 546
rect 303 476 319 510
rect 353 476 369 510
rect 113 406 129 440
rect 303 440 369 476
rect 409 580 459 649
rect 443 546 459 580
rect 409 508 459 546
rect 443 474 459 508
rect 409 458 459 474
rect 499 580 533 596
rect 499 497 533 546
rect 303 424 319 440
rect 163 406 319 424
rect 353 424 369 440
rect 499 424 533 463
rect 353 414 533 424
rect 353 406 499 414
rect 113 390 499 406
rect 23 364 73 380
rect 112 320 450 356
rect 112 286 128 320
rect 162 286 196 320
rect 230 286 264 320
rect 298 286 332 320
rect 366 286 400 320
rect 434 286 450 320
rect 112 270 450 286
rect 499 324 533 380
rect 573 580 639 649
rect 573 546 589 580
rect 623 546 639 580
rect 573 497 639 546
rect 573 463 589 497
rect 623 463 639 497
rect 573 414 639 463
rect 573 380 589 414
rect 623 380 639 414
rect 573 364 639 380
rect 673 580 739 596
rect 673 546 689 580
rect 723 546 739 580
rect 673 497 739 546
rect 673 463 689 497
rect 723 463 739 497
rect 673 414 739 463
rect 673 380 689 414
rect 723 380 739 414
rect 673 324 739 380
rect 773 580 839 649
rect 773 546 789 580
rect 823 546 839 580
rect 773 497 839 546
rect 773 463 789 497
rect 823 463 839 497
rect 773 414 839 463
rect 773 380 789 414
rect 823 380 839 414
rect 773 364 839 380
rect 499 262 839 324
rect 484 236 839 262
rect 112 228 839 236
rect 26 210 76 226
rect 26 176 42 210
rect 26 120 76 176
rect 26 86 42 120
rect 26 17 76 86
rect 112 210 536 228
rect 112 176 128 210
rect 162 202 300 210
rect 112 120 162 176
rect 334 202 486 210
rect 112 86 128 120
rect 112 70 162 86
rect 198 152 264 168
rect 198 118 214 152
rect 248 118 264 152
rect 198 17 264 118
rect 300 120 334 176
rect 470 176 486 202
rect 520 176 536 210
rect 670 210 722 228
rect 300 70 334 86
rect 370 152 436 168
rect 370 118 386 152
rect 420 118 436 152
rect 370 17 436 118
rect 470 120 536 176
rect 470 86 486 120
rect 520 86 536 120
rect 470 70 536 86
rect 570 192 636 194
rect 570 158 586 192
rect 620 158 636 192
rect 570 116 636 158
rect 570 82 586 116
rect 620 82 636 116
rect 570 17 636 82
rect 670 176 686 210
rect 720 176 722 210
rect 670 120 722 176
rect 670 86 686 120
rect 720 86 722 120
rect 670 70 722 86
rect 756 160 772 194
rect 806 160 822 194
rect 756 120 822 160
rect 756 86 772 120
rect 806 86 822 120
rect 756 17 822 86
rect 0 -17 31 17
rect 65 -17 127 17
rect 161 -17 223 17
rect 257 -17 319 17
rect 353 -17 415 17
rect 449 -17 511 17
rect 545 -17 607 17
rect 641 -17 703 17
rect 737 -17 799 17
rect 833 -17 864 17
<< viali >>
rect 31 649 65 683
rect 127 649 161 683
rect 223 649 257 683
rect 319 649 353 683
rect 415 649 449 683
rect 511 649 545 683
rect 607 649 641 683
rect 703 649 737 683
rect 799 649 833 683
rect 31 -17 65 17
rect 127 -17 161 17
rect 223 -17 257 17
rect 319 -17 353 17
rect 415 -17 449 17
rect 511 -17 545 17
rect 607 -17 641 17
rect 703 -17 737 17
rect 799 -17 833 17
<< metal1 >>
rect 0 683 864 715
rect 0 649 31 683
rect 65 649 127 683
rect 161 649 223 683
rect 257 649 319 683
rect 353 649 415 683
rect 449 649 511 683
rect 545 649 607 683
rect 641 649 703 683
rect 737 649 799 683
rect 833 649 864 683
rect 0 617 864 649
rect 0 17 864 49
rect 0 -17 31 17
rect 65 -17 127 17
rect 161 -17 223 17
rect 257 -17 319 17
rect 353 -17 415 17
rect 449 -17 511 17
rect 545 -17 607 17
rect 641 -17 703 17
rect 737 -17 799 17
rect 833 -17 864 17
rect 0 -49 864 -17
<< labels >>
rlabel comment s 0 0 0 0 4 inv_8
flabel pwell s 0 0 864 49 0 FreeSans 200 0 0 0 VNB
port 1 nsew
flabel nwell s 0 617 864 666 0 FreeSans 200 0 0 0 VPB
port 2 nsew
flabel metal1 s 0 617 864 666 0 FreeSans 340 0 0 0 VPWR
port 3 nsew
flabel metal1 s 0 0 864 49 0 FreeSans 340 0 0 0 VGND
port 4 nsew
flabel locali s 127 316 161 350 0 FreeSans 340 0 0 0 A
port 6 nsew
flabel locali s 223 316 257 350 0 FreeSans 340 0 0 0 A
port 6 nsew
flabel locali s 319 316 353 350 0 FreeSans 340 0 0 0 A
port 6 nsew
flabel locali s 799 242 833 276 0 FreeSans 340 0 0 0 Y
port 7 nsew
<< properties >>
string FIXED_BBOX 0 0 864 666
<< end >>

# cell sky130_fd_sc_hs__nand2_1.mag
magic
tech sky130A
magscale 1 2
<< nwell >>
rect -38 332 326 704
<< pwell >>
rect 4 49 278 248
rect 0 0 288 49
<< scpmos >>
rect 84 368 114 592
rect 174 368 204 592
<< nmoslvt >>
rect 87 74 117 222
rect 165 74 195 222
<< ndiff >>
rect 30 202 87 222
rect 30 168 42 202
rect 76 168 87 202
rect 30 120 87 168
rect 30 86 42 120
rect 76 86 87 120
rect 30 74 87 86
rect 117 74 165 222
rect 195 202 252 222
rect 195 168 206 202
rect 240 168 252 202
rect 195 120 252 168
rect 195 86 206 120
rect 240 86 252 120
rect 195 74 252 86
<< pdiff >>
rect 27 580 84 592
rect 27 546 37 580
rect 71 546 84 580
rect 27 497 84 546
rect 27 463 37 497
rect 71 463 84 497
rect 27 414 84 463
rect 27 380 37 414
rect 71 380 84 414
rect 27 368 84 380
rect 114 580 174 592
rect 114 546 127 580
rect 161 546 174 580
rect 114 497 174 546
rect 114 463 127 497
rect 161 463 174 497
rect 114 414 174 463
rect 114 380 127 414
rect 161 380 174 414
rect 114 368 174 380
rect 204 580 261 592
rect 204 546 217 580
rect 251 546 261 580
rect 204 497 261 546
rect 204 463 217 497
rect 251 463 261 497
rect 204 414 261 463
rect 204 380 217 414
rect 251 380 261 414
rect 204 368 261 380
<< ndiffc >>
rect 42 168 76 202
rect 42 86 76 120
rect 206 168 240 202
rect 206 86 240 120
<< pdiffc >>
rect 37 546 71 580
rect 37 463 71 497
rect 37 380 71 414
rect 127 546 161 580
rect 127 463 161 497
rect 127 380 161 414
rect 217 546 251 580
rect 217 463 251 497
rect 217 380 251 414
<< poly >>
rect 84 592 114 618
rect 174 592 204 618
rect 84 353 114 368
rect 174 353 204 368
rect 81 310 117 353
rect 171 310 207 353
rect 21 294 117 310
rect 21 260 37 294
rect 71 260 117 294
rect 21 244 117 260
rect 87 222 117 244
rect 165 294 267 310
rect 165 260 217 294
rect 251 260 267 294
rect 165 244 267 260
rect 165 222 195 244
rect 87 48 117 74
rect 165 48 195 74
<< polycont >>
rect 37 260 71 294
rect 217 260 251 294
<< locali >>
rect 0 649 31 683
rect 65 649 127 683
rect 161 649 223 683
rect 257 649 288 683
rect 21 580 87 649
rect 21 546 37 580
rect 71 546 87 580
rect 21 497 87 546
rect 21 463 37 497
rect 71 463 87 497
rect 21 414 87 463
rect 21 380 37 414
rect 71 380 87 414
rect 21 364 87 380
rect 121 580 167 596
rect 121 546 127 580
rect 161 546 167 580
rect 121 497 167 546
rect 121 463 127 497
rect 161 463 167 497
rect 121 414 167 463
rect 121 380 127 414
rect 161 380 167 414
rect 21 294 87 310
rect 21 260 37 294
rect 71 260 87 294
rect 21 236 87 260
rect 121 236 167 380
rect 201 580 267 649
rect 201 546 217 580
rect 251 546 267 580
rect 201 497 267 546
rect 201 463 217 497
rect 251 463 267 497
rect 201 414 267 463
rect 201 380 217 414
rect 251 380 267 414
rect 201 364 267 380
rect 201 294 267 310
rect 201 260 217 294
rect 251 260 267 294
rect 201 236 267 260
rect 133 202 167 236
rect 26 168 42 202
rect 76 168 92 202
rect 133 168 206 202
rect 240 168 256 202
rect 26 120 92 168
rect 26 86 42 120
rect 76 86 92 120
rect 26 17 92 86
rect 190 120 256 168
rect 190 86 206 120
rect 240 86 256 120
rect 190 70 256 86
rect 0 -17 31 17
rect 65 -17 127 17
rect 161 -17 223 17
rect 257 -17 288 17
<< viali >>
rect 31 649 65 683
rect 127 649 161 683
rect 223 649 257 683
rect 31 -17 65 17
rect 127 -17 161 17
rect 223 -17 257 17
<< metal1 >>
rect 0 683 288 715
rect 0 649 31 683
rect 65 649 127 683
rect 161 649 223 683
rect 257 649 288 683
rect 0 617 288 649
rect 0 17 288 49
rect 0 -17 31 17
rect 65 -17 127 17
rect 161 -17 223 17
rect 257 -17 288 17
rect 0 -49 288 -17
<< labels >>
rlabel comment s 0 0 0 0 4 nand2_1
flabel pwell s 0 0 288 49 0 FreeSans 200 0 0 0 VNB
port 1 nsew
flabel nwell s 0 617 288 666 0 FreeSans 200 0 0 0 VPB
port 2 nsew
flabel metal1 s 0 617 288 666 0 FreeSans 340 0 0 0 VPWR
port 3 nsew
flabel metal1 s 0 0 288 49 0 FreeSans 340 0 0 0 VGND
port 4 nsew
flabel locali s 31 242 65 276 0 FreeSans 340 0 0 0 B
port 6 nsew
flabel locali s 127 242 161 276 0 FreeSans 340 0 0 0 Y
port 7 nsew
flabel locali s 127 316 161 350 0 FreeSans 340 0 0 0 Y
port 7 nsew
flabel locali s 127 390 161 424 0 FreeSans 340 0 0 0 Y
port 7 nsew
flabel locali s 127 464 161 498 0 FreeSans 340 0 0 0 Y
port 7 nsew
flabel locali s 127 538 161 572 0 FreeSans 340 0 0 0 Y
port 7 nsew
flabel locali s 223 242 257 276 0 FreeSans 340 0 0 0 A
port 8 nsew
<< properties >>
string FIXED_BBOX 0 0 288 666
<< end >>

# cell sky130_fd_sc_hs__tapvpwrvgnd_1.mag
magic
tech sky130A
magscale 1 2
<< nwell >>
rect -38 332 134 704
<< pwell >>
rect 5 38 91 255
<< psubdiff >>
rect 31 205 65 229
rect 31 122 65 171
rect 31 64 65 88
<< nsubdiff >>
rect 31 578 65 602
rect 31 492 65 544
rect 31 434 65 458
<< psubdiffcont >>
rect 31 171 65 205
rect 31 88 65 122
<< nsubdiffcont >>
rect 31 544 65 578
rect 31 458 65 492
<< locali >>
rect 0 649 31 683
rect 65 649 96 683
rect 18 578 78 649
rect 18 544 31 578
rect 65 544 78 578
rect 18 492 78 544
rect 18 458 31 492
rect 65 458 78 492
rect 18 441 78 458
rect 18 205 78 221
rect 18 171 31 205
rect 65 171 78 205
rect 18 122 78 171
rect 18 88 31 122
rect 65 88 78 122
rect 18 17 78 88
rect 0 -17 31 17
rect 65 -17 96 17
<< viali >>
rect 31 649 65 683
rect 31 -17 65 17
<< metal1 >>
rect 0 683 96 715
rect 0 649 31 683
rect 65 649 96 683
rect 0 617 96 649
rect 0 17 96 49
rect 0 -17 31 17
rect 65 -17 96 17
rect 0 -49 96 -17
<< labels >>
rlabel comment s 0 0 0 0 4 tapvpwrvgnd_1
flabel metal1 s 0 617 96 666 0 FreeSans 200 0 0 0 VPWR
port 1 nsew
flabel metal1 s 0 0 96 49 0 FreeSans 200 0 0 0 VGND
port 2 nsew
<< properties >>
string FIXED_BBOX 0 0 96 666
<< end >>
